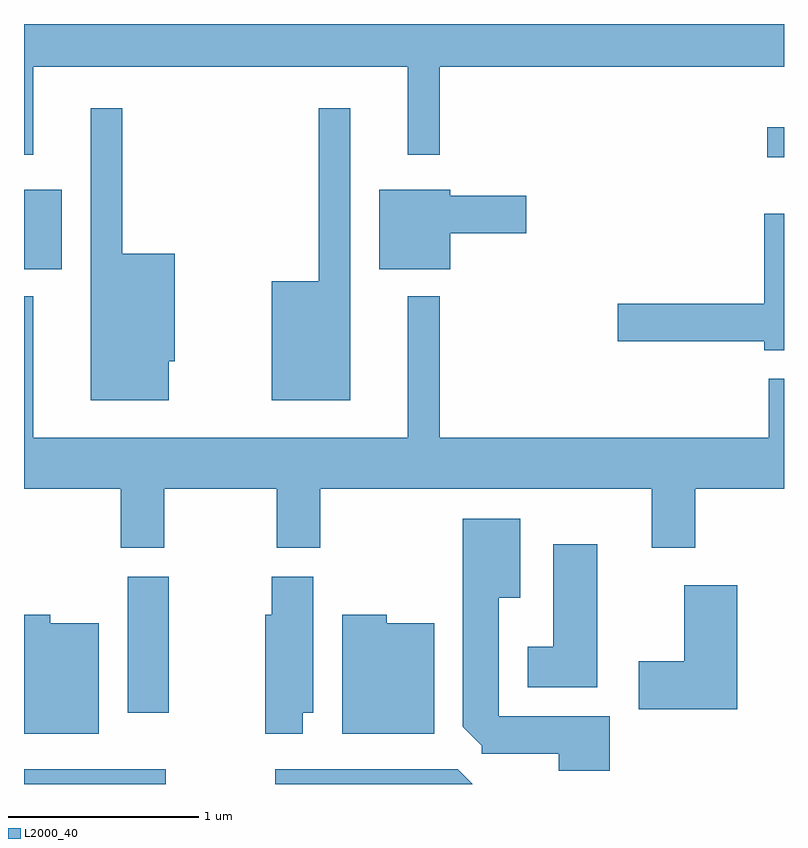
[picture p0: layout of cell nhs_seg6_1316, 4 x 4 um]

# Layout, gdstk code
import gdstk
lib = gdstk.Library(unit=1e-6, precision=1e-09)
def R(c, l, rs):  # rectangles x0, y0, x1, y1
    for r in rs: c.add(gdstk.rectangle(r[:2], r[2:], *l))
def P(c, l, *ps):  # polygons
    for p in ps: c.add(gdstk.Polygon(p, *l))
L2000_40 = (2000, 40)

nhs_seg6_1316 = lib.new_cell('nhs_seg6_1316')
R(nhs_seg6_1316, L2000_40, [(223.611,1646.162,224.358,1646.239), (224.156,1646.536,224.374,1647.254), (223.611,1648.871,223.809,1649.289), (227.523,1649.461,227.611,1649.619)])
P(nhs_seg6_1316, L2000_40, [(223.659,1649.936),(225.631,1649.936),(225.631,1649.473),(225.799,1649.473),(225.799,1649.936),(227.611,1649.936),(227.611,1650.162),(223.611,1650.162),(223.611,1649.473),(223.659,1649.473)],
  [(225.329,1649.718),(225.161,1649.718),(225.161,1648.809),(224.916,1648.809),(224.916,1648.181),(225.329,1648.181)],
  [(224.374,1648.386),(224.404,1648.386),(224.404,1648.954),(224.129,1648.954),(224.129,1649.718),(223.961,1649.718),(223.961,1648.181),(224.374,1648.181)],
  [(225.854,1649.061),(226.254,1649.061),(226.254,1649.259),(225.854,1649.259),(225.854,1649.289),(225.481,1649.289),(225.481,1648.871),(225.854,1648.871)],
  [(227.611,1649.164),(227.506,1649.164),(227.506,1648.689),(226.736,1648.689),(226.736,1648.491),(227.506,1648.491),(227.506,1648.446),(227.611,1648.446)],
  [(224.349,1647.716),(224.941,1647.716),(224.941,1647.406),(225.169,1647.406),(225.169,1647.716),(226.916,1647.716),(226.916,1647.406),(227.144,1647.406),(227.144,1647.716),(227.611,1647.716),(227.611,1648.294),(227.531,1648.294),(227.531,1647.984),(225.799,1647.984),(225.799,1648.728),(225.631,1648.728),(225.631,1647.984),(223.659,1647.984),(223.659,1648.728),(223.611,1648.728),(223.611,1647.716),(224.121,1647.716),(224.121,1647.406),(224.349,1647.406)],
  [(226.694,1646.519),(226.109,1646.519),(226.109,1647.141),(226.224,1647.141),(226.224,1647.559),(225.921,1647.559),(225.921,1646.464),(226.021,1646.364),(226.021,1646.321),(226.426,1646.321),(226.426,1646.231),(226.694,1646.231)],
  [(226.629,1647.424),(226.396,1647.424),(226.396,1646.884),(226.261,1646.884),(226.261,1646.671),(226.629,1646.671)],
  [(225.079,1646.536),(225.134,1646.536),(225.134,1647.254),(224.916,1647.254),(224.916,1647.054),(224.881,1647.054),(224.881,1646.426),(225.079,1646.426)],
  [(227.364,1647.209),(227.086,1647.209),(227.086,1646.809),(226.846,1646.809),(226.846,1646.556),(227.364,1646.556)],
  [(224.004,1647.009),(223.749,1647.009),(223.749,1647.054),(223.611,1647.054),(223.611,1646.426),(224.004,1646.426)],
  [(225.769,1647.009),(225.519,1647.009),(225.519,1647.054),(225.286,1647.054),(225.286,1646.426),(225.769,1646.426)],
  [(225.969,1646.164),(225.894,1646.239),(224.933,1646.239),(224.933,1646.162),(225.969,1646.162)])

lib.write_gds('nhs_seg6_1316.gds')
